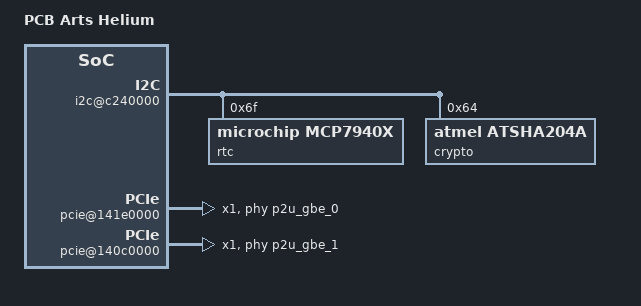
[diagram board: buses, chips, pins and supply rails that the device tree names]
// SPDX-License-Identifier: MIT
/*
 * PCB Arts Helium carrier deltas on top of the Jetson Orin NX/Nano devkit
 * device tree (tegra234-p3768-0000+p3767-0000-nv-super.dtb).
 * Reconstructed from the live device tree of a Helium running the
 * PCB Arts JetPack 36.5.0 image.
 */
/dts-v1/;
/plugin/;

/ {
	fragment@0 {
		target-path = "/";
		__overlay__ {
			model = "PCB Arts Helium";
		};
	};

	/* No FUSB301 Type-C controller on Helium. */
	fragment@1 {
		target-path = "/bus@0/i2c@c240000/fusb301@25";
		__overlay__ {
			status = "disabled";
		};
	};

	/*
	 * Without the FUSB301 nothing drives the USB-C role, so default the port
	 * to device mode: initrd-flash needs the USB gadget (mass storage) on it.
	 * The padctl driver only honours usb-role-switch/role-switch-default-mode
	 * in "otg"/"peripheral" mode ("host" makes the port host-only). Switch at
	 * runtime with /sys/class/usb_role/<port>/role. PCB Arts' runtime overlay
	 * uses mode = "host", but they flash with the stock "otg" devkit DTB.
	 */
	fragment@2 {
		target-path = "/bus@0/padctl@3520000/ports/usb2-0";
		__overlay__ {
			mode = "otg";
			usb-role-switch;
			role-switch-default-mode = "peripheral";
		};
	};

	/* External RTC MCP7940NT on I2C1 (gen2_i2c). */
	fragment@3 {
		target-path = "/bus@0/i2c@c240000";
		__overlay__ {
			#address-cells = <1>;
			#size-cells = <0>;

			rtc@6f {
				compatible = "microchip,mcp7940x";
				reg = <0x6f>;
				status = "okay";
			};

			/* ATSHA204A crypto authentication chip (also provides a hwrng). */
			crypto@64 {
				compatible = "atmel,atsha204a";
				reg = <0x64>;
				status = "okay";
			};
		};
	};

	/* No SD card slot. */
	fragment@4 {
		target-path = "/bus@0/mmc@3400000";
		__overlay__ {
			status = "disabled";
		};
	};

	/* gbe-uphy-config-9: C7 keeps GBE lane 0, C9 gets GBE lane 1 (LAN7430). */
	fragment@5 {
		target-path = "/bus@0/pcie@141e0000";
		__overlay__ {
			num-lanes = <1>;
			phys = <&p2u_gbe_0>;
			phy-names = "p2u-0";
		};
	};

	fragment@6 {
		target-path = "/bus@0/pcie@140c0000";
		__overlay__ {
			status = "okay";
			num-lanes = <1>;
			phys = <&p2u_gbe_1>;
			phy-names = "p2u-0";
			vddio-pex-ctl-supply = <&vdd_1v8_ao>;
		};
	};
};
